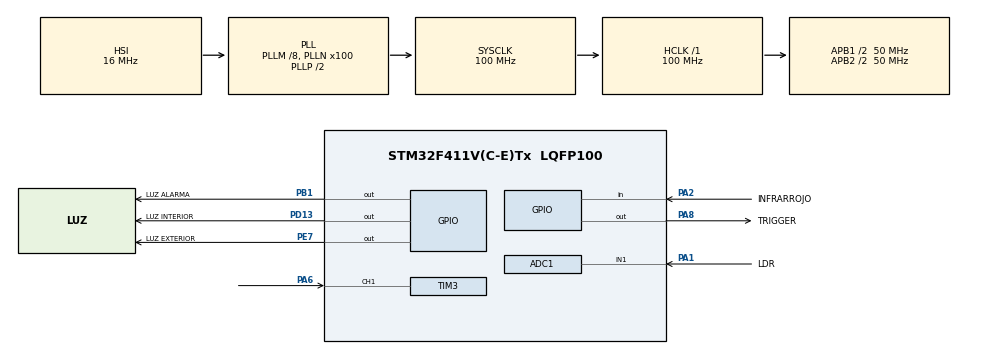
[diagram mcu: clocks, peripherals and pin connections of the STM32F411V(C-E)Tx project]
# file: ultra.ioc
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ADC1.Channel-0\#ChannelRegularConversion=ADC_CHANNEL_1
ADC1.Channel-1\#ChannelRegularConversion=ADC_CHANNEL_TEMPSENSOR
ADC1.ContinuousConvMode=ENABLE
ADC1.DMAContinuousRequests=ENABLE
ADC1.NbrOfConversion=2
ADC1.NbrOfConversionFlag=1
ADC1.Rank-0\#ChannelRegularConversion=1
ADC1.Rank-1\#ChannelRegularConversion=2
ADC1.SamplingTime-0\#ChannelRegularConversion=ADC_SAMPLETIME_3CYCLES
ADC1.SamplingTime-1\#ChannelRegularConversion=ADC_SAMPLETIME_144CYCLES
ADC1.ScanConvMode=ENABLE
ADC1.master=1
Dma.ADC1.0.Direction=DMA_PERIPH_TO_MEMORY
Dma.ADC1.0.FIFOMode=DMA_FIFOMODE_DISABLE
Dma.ADC1.0.Instance=DMA2_Stream0
Dma.ADC1.0.MemDataAlignment=DMA_MDATAALIGN_WORD
Dma.ADC1.0.MemInc=DMA_MINC_ENABLE
Dma.ADC1.0.Mode=DMA_CIRCULAR
Dma.ADC1.0.PeriphDataAlignment=DMA_PDATAALIGN_WORD
Dma.ADC1.0.PeriphInc=DMA_PINC_DISABLE
Dma.ADC1.0.Priority=DMA_PRIORITY_LOW
Dma.Request0=ADC1
Mcu.Family=STM32F4
Mcu.Name=STM32F411V(C-E)Tx
Mcu.Package=LQFP100
NVIC.ADC_IRQn=true\:0\:0\:false\:false\:true\:true\:true\:true
NVIC.DMA2_Stream0_IRQn=true\:0\:0\:false\:false\:true\:false\:true\:true
NVIC.PriorityGroup=NVIC_PRIORITYGROUP_0
NVIC.TIM3_IRQn=true\:0\:0\:false\:false\:true\:true\:true\:true
PA1.GPIO_Label=LDR
PA1.Signal=ADCx_IN1
PA2.GPIO_Label=INFRARROJO
PA2.Signal=GPIO_Input
PA6.Signal=S_TIM3_CH1
PA8.GPIO_Label=TRIGGER
PA8.Signal=GPIO_Output
PB1.GPIO_Label=LUZ ALARMA
PB1.Signal=GPIO_Output
PD13.GPIO_Label=LUZ INTERIOR
PD13.Signal=GPIO_Output
PE7.GPIO_Label=LUZ EXTERIOR
PE7.Signal=GPIO_Output
ProjectManager.HeapSize=0x200
ProjectManager.StackSize=0x400
ProjectManager.TargetToolchain=STM32CubeIDE
RCC.48MHZClocksFreq_Value=25000000
RCC.AHBFreq_Value=100000000
RCC.APB1CLKDivider=RCC_HCLK_DIV2
RCC.APB1Freq_Value=50000000
RCC.APB1TimFreq_Value=100000000
RCC.APB2CLKDivider=RCC_HCLK_DIV2
RCC.APB2Freq_Value=50000000
RCC.APB2TimFreq_Value=100000000
RCC.CortexFreq_Value=100000000
RCC.HCLKFreq_Value=100000000
RCC.HSE_VALUE=8000000
RCC.HSI_VALUE=16000000
RCC.LSE_VALUE=32768
RCC.PLLI2SM=5
RCC.PLLI2SN=200
RCC.PLLM=8
RCC.PLLN=100
RCC.PLLQ=8
RCC.SYSCLKFreq_VALUE=100000000
RCC.SYSCLKSource=RCC_SYSCLKSOURCE_PLLCLK
RCC.VCOOutputFreq_Value=200000000
SH.ADCx_IN1.0=ADC1_IN1,IN1
SH.S_TIM3_CH1.0=TIM3_CH1,Input_Capture1_from_TI1
TIM3.Channel-Input_Capture1_from_TI1=TIM_CHANNEL_1
TIM3.ICFilter_CH1=4
TIM3.Prescaler=100-1
VP_ADC1_TempSens_Input.Mode=IN-TempSens
VP_TIM3_VS_ClockSourceINT.Mode=Internal
board=STM32F411E-DISCO

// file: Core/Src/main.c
/* USER CODE BEGIN Header */
/**
  ******************************************************************************
  * @file           : main.c
  * @brief          : Main program body
  ******************************************************************************
  * @attention
  *
  * Copyright (c) 2024 STMicroelectronics.
  * All rights reserved.
  *
  * This software is licensed under terms that can be found in the LICENSE file
  * in the root directory of this software component.
  * If no LICENSE file comes with this software, it is provided AS-IS.
  *
  ******************************************************************************
  */
/* USER CODE END Header */
#include "main.h"

ADC_HandleTypeDef hadc1;
DMA_HandleTypeDef hdma_adc1;

TIM_HandleTypeDef htim3;

void SystemClock_Config(void);
static void MX_GPIO_Init(void);
static void MX_DMA_Init(void);
static void MX_TIM3_Init(void);
static void MX_ADC1_Init(void);
/* USER CODE BEGIN PFP */
//void sensor_distancia(int);
/* USER CODE END PFP */

/* USER CODE BEGIN 0 */
uint32_t adc_value[2]; //alamcena los valores de los sensores analogicos ldr y temperatura
uint32_t ldr_value=0;//Variable que almacenara la lectura del ldr

volatile uint8_t dma_completo=0;
uint8_t es_pv=0;                 // variable para configuracón de temporizador de ultrasonido
int distancia;                 // da valor a la distancia medida por el sensor de ultrasonido
uint32_t valor1,valor2,periodo, var_aux=0;  // variable para configuracón de temporizador de ultrasonido

uint32_t elapsed_time=0;
uint32_t start_time=0;

void activa_alarma(){
	if (HAL_GPIO_ReadPin(GPIOA, GPIO_PIN_2) == GPIO_PIN_SET){
      start_time = HAL_GetTick();

      while((HAL_GetTick() - start_time) < 10000){}

      while (((HAL_GetTick() - start_time) >= 10000)&&((HAL_GetTick() - start_time) < 20000))
      HAL_GPIO_WritePin(GPIOB, GPIO_PIN_1, 1);
      }
	HAL_GPIO_WritePin(GPIOB, GPIO_PIN_1, 0);

}
//conversion de temperatura

int encender_led(uint32_t value){
	if(value<300)return 1;
	else return 0;
}
void sensor_distancia(int distancia){
	if(distancia<15){
		HAL_GPIO_WritePin(GPIOD,GPIO_PIN_13,1); // Activacion del Led cuando la distancia del sujeto es la indicada
	}else{
		HAL_GPIO_WritePin(GPIOD,GPIO_PIN_13,0);
	}
}
void HAL_ADC_ConvCpltCallback(ADC_HandleTypeDef *hadc)

{
	dma_completo = 1;//Finaliza la lectura DMA
}

/* USER CODE END 0 */

int main(void)
{

  /* MCU Configuration--------------------------------------------------------*/

  /* Reset of all peripherals, Initializes the Flash interface and the Systick. */
  HAL_Init();

  /* Configure the system clock */
  SystemClock_Config();

  /* Initialize all configured peripherals */
  MX_GPIO_Init();
  MX_DMA_Init();
  MX_TIM3_Init();
  MX_ADC1_Init();
  /* USER CODE BEGIN 2 */

  HAL_ADC_Start_DMA(&hadc1,adc_value,2); // lectura de los dos canales de DMA

  /* USER CODE END 2 */

  /* Infinite loop */
  while (1)
  {

    /* USER CODE BEGIN 3 */

	   //ENVIO DE SEÑAL AL TRIGGER
	  	  	  activa_alarma();

	          ldr_value=adc_value[0];//le asignamos el valor

	 	      HAL_GPIO_WritePin(GPIOE,GPIO_PIN_7,encender_led(ldr_value));

	 	  	  HAL_GPIO_WritePin(TRIGGER_GPIO_Port,TRIGGER_Pin,GPIO_PIN_SET);
	 	  	  HAL_Delay(10);
	 	  	  HAL_GPIO_WritePin(TRIGGER_GPIO_Port,TRIGGER_Pin,GPIO_PIN_RESET);

	 	  	  HAL_TIM_IC_Start_IT(&htim3,TIM_CHANNEL_1);

	 	  	  distancia=periodo/58;

	 	  	  sensor_distancia(distancia);
  }
  /* USER CODE END 3 */
}

void SystemClock_Config(void)
{
  RCC_OscInitTypeDef RCC_OscInitStruct = {0};
  RCC_ClkInitTypeDef RCC_ClkInitStruct = {0};

  /** Configure the main internal regulator output voltage
  */
  __HAL_RCC_PWR_CLK_ENABLE();
  __HAL_PWR_VOLTAGESCALING_CONFIG(PWR_REGULATOR_VOLTAGE_SCALE1);

  /** Initializes the RCC Oscillators according to the specified parameters
  * in the RCC_OscInitTypeDef structure.
  */
  RCC_OscInitStruct.OscillatorType = RCC_OSCILLATORTYPE_HSI;
  RCC_OscInitStruct.HSIState = RCC_HSI_ON;
  RCC_OscInitStruct.HSICalibrationValue = RCC_HSICALIBRATION_DEFAULT;
  RCC_OscInitStruct.PLL.PLLState = RCC_PLL_ON;
  RCC_OscInitStruct.PLL.PLLSource = RCC_PLLSOURCE_HSI;
  RCC_OscInitStruct.PLL.PLLM = 8;
  RCC_OscInitStruct.PLL.PLLN = 100;
  RCC_OscInitStruct.PLL.PLLP = RCC_PLLP_DIV2;
  RCC_OscInitStruct.PLL.PLLQ = 8;
  if (HAL_RCC_OscConfig(&RCC_OscInitStruct) != HAL_OK)
  {
    Error_Handler();
  }

  /** Initializes the CPU, AHB and APB buses clocks
  */
  RCC_ClkInitStruct.ClockType = RCC_CLOCKTYPE_HCLK|RCC_CLOCKTYPE_SYSCLK
                              |RCC_CLOCKTYPE_PCLK1|RCC_CLOCKTYPE_PCLK2;
  RCC_ClkInitStruct.SYSCLKSource = RCC_SYSCLKSOURCE_PLLCLK;
  RCC_ClkInitStruct.AHBCLKDivider = RCC_SYSCLK_DIV1;
  RCC_ClkInitStruct.APB1CLKDivider = RCC_HCLK_DIV2;
  RCC_ClkInitStruct.APB2CLKDivider = RCC_HCLK_DIV2;

  if (HAL_RCC_ClockConfig(&RCC_ClkInitStruct, FLASH_LATENCY_3) != HAL_OK)
  {
    Error_Handler();
  }
}

static void MX_ADC1_Init(void)
{

  ADC_ChannelConfTypeDef sConfig = {0};

  /** Configure the global features of the ADC (Clock, Resolution, Data Alignment and number of conversion)
  */
  hadc1.Instance = ADC1;
  hadc1.Init.ClockPrescaler = ADC_CLOCK_SYNC_PCLK_DIV2;
  hadc1.Init.Resolution = ADC_RESOLUTION_12B;
  hadc1.Init.ScanConvMode = ENABLE;
  hadc1.Init.ContinuousConvMode = ENABLE;
  hadc1.Init.DiscontinuousConvMode = DISABLE;
  hadc1.Init.ExternalTrigConvEdge = ADC_EXTERNALTRIGCONVEDGE_NONE;
  hadc1.Init.ExternalTrigConv = ADC_SOFTWARE_START;
  hadc1.Init.DataAlign = ADC_DATAALIGN_RIGHT;
  hadc1.Init.NbrOfConversion = 2;
  hadc1.Init.DMAContinuousRequests = ENABLE;
  hadc1.Init.EOCSelection = ADC_EOC_SINGLE_CONV;
  if (HAL_ADC_Init(&hadc1) != HAL_OK)
  {
    Error_Handler();
  }

  /** Configure for the selected ADC regular channel its corresponding rank in the sequencer and its sample time.
  */
  sConfig.Channel = ADC_CHANNEL_1;
  sConfig.Rank = 1;
  sConfig.SamplingTime = ADC_SAMPLETIME_3CYCLES;
  if (HAL_ADC_ConfigChannel(&hadc1, &sConfig) != HAL_OK)
  {
    Error_Handler();
  }

  /** Configure for the selected ADC regular channel its corresponding rank in the sequencer and its sample time.
  */
  sConfig.Channel = ADC_CHANNEL_TEMPSENSOR;
  sConfig.Rank = 2;
  sConfig.SamplingTime = ADC_SAMPLETIME_144CYCLES;
  if (HAL_ADC_ConfigChannel(&hadc1, &sConfig) != HAL_OK)
  {
    Error_Handler();
  }

}

static void MX_TIM3_Init(void)
{

  TIM_ClockConfigTypeDef sClockSourceConfig = {0};
  TIM_MasterConfigTypeDef sMasterConfig = {0};
  TIM_IC_InitTypeDef sConfigIC = {0};

  htim3.Instance = TIM3;
  htim3.Init.Prescaler = 100-1;
  htim3.Init.CounterMode = TIM_COUNTERMODE_UP;
  htim3.Init.Period = 65535;
  htim3.Init.ClockDivision = TIM_CLOCKDIVISION_DIV1;
  htim3.Init.AutoReloadPreload = TIM_AUTORELOAD_PRELOAD_DISABLE;
  if (HAL_TIM_Base_Init(&htim3) != HAL_OK)
  {
    Error_Handler();
  }
  sClockSourceConfig.ClockSource = TIM_CLOCKSOURCE_INTERNAL;
  if (HAL_TIM_ConfigClockSource(&htim3, &sClockSourceConfig) != HAL_OK)
  {
    Error_Handler();
  }
  if (HAL_TIM_IC_Init(&htim3) != HAL_OK)
  {
    Error_Handler();
  }
  sMasterConfig.MasterOutputTrigger = TIM_TRGO_RESET;
  sMasterConfig.MasterSlaveMode = TIM_MASTERSLAVEMODE_DISABLE;
  if (HAL_TIMEx_MasterConfigSynchronization(&htim3, &sMasterConfig) != HAL_OK)
  {
    Error_Handler();
  }
  sConfigIC.ICPolarity = TIM_INPUTCHANNELPOLARITY_RISING;
  sConfigIC.ICSelection = TIM_ICSELECTION_DIRECTTI;
  sConfigIC.ICPrescaler = TIM_ICPSC_DIV1;
  sConfigIC.ICFilter = 4;
  if (HAL_TIM_IC_ConfigChannel(&htim3, &sConfigIC, TIM_CHANNEL_1) != HAL_OK)
  {
    Error_Handler();
  }

}

static void MX_DMA_Init(void)
{

  /* DMA controller clock enable */
  __HAL_RCC_DMA2_CLK_ENABLE();

  /* DMA interrupt init */
  /* DMA2_Stream0_IRQn interrupt configuration */
  HAL_NVIC_SetPriority(DMA2_Stream0_IRQn, 0, 0);
  HAL_NVIC_EnableIRQ(DMA2_Stream0_IRQn);

}

static void MX_GPIO_Init(void)
{
  GPIO_InitTypeDef GPIO_InitStruct = {0};

  /* GPIO Ports Clock Enable */
  __HAL_RCC_GPIOA_CLK_ENABLE();
  __HAL_RCC_GPIOB_CLK_ENABLE();
  __HAL_RCC_GPIOE_CLK_ENABLE();
  __HAL_RCC_GPIOD_CLK_ENABLE();

  /*Configure GPIO pin Output Level */
  HAL_GPIO_WritePin(LUZ_ALARMA_GPIO_Port, LUZ_ALARMA_Pin, GPIO_PIN_RESET);

  /*Configure GPIO pin Output Level */
  HAL_GPIO_WritePin(LUZ_EXTERIOR_GPIO_Port, LUZ_EXTERIOR_Pin, GPIO_PIN_RESET);

  /*Configure GPIO pin Output Level */
  HAL_GPIO_WritePin(LUZ_INTERIOR_GPIO_Port, LUZ_INTERIOR_Pin, GPIO_PIN_RESET);

  /*Configure GPIO pin Output Level */
  HAL_GPIO_WritePin(TRIGGER_GPIO_Port, TRIGGER_Pin, GPIO_PIN_RESET);

  /*Configure GPIO pin : INFRARROJO_Pin */
  GPIO_InitStruct.Pin = INFRARROJO_Pin;
  GPIO_InitStruct.Mode = GPIO_MODE_INPUT;
  GPIO_InitStruct.Pull = GPIO_NOPULL;
  HAL_GPIO_Init(INFRARROJO_GPIO_Port, &GPIO_InitStruct);

  /*Configure GPIO pin : LUZ_ALARMA_Pin */
  GPIO_InitStruct.Pin = LUZ_ALARMA_Pin;
  GPIO_InitStruct.Mode = GPIO_MODE_OUTPUT_PP;
  GPIO_InitStruct.Pull = GPIO_NOPULL;
  GPIO_InitStruct.Speed = GPIO_SPEED_FREQ_LOW;
  HAL_GPIO_Init(LUZ_ALARMA_GPIO_Port, &GPIO_InitStruct);

  /*Configure GPIO pin : LUZ_EXTERIOR_Pin */
  GPIO_InitStruct.Pin = LUZ_EXTERIOR_Pin;
  GPIO_InitStruct.Mode = GPIO_MODE_OUTPUT_PP;
  GPIO_InitStruct.Pull = GPIO_NOPULL;
  GPIO_InitStruct.Speed = GPIO_SPEED_FREQ_LOW;
  HAL_GPIO_Init(LUZ_EXTERIOR_GPIO_Port, &GPIO_InitStruct);

  /*Configure GPIO pin : LUZ_INTERIOR_Pin */
  GPIO_InitStruct.Pin = LUZ_INTERIOR_Pin;
  GPIO_InitStruct.Mode = GPIO_MODE_OUTPUT_PP;
  GPIO_InitStruct.Pull = GPIO_NOPULL;
  GPIO_InitStruct.Speed = GPIO_SPEED_FREQ_LOW;
  HAL_GPIO_Init(LUZ_INTERIOR_GPIO_Port, &GPIO_InitStruct);

  /*Configure GPIO pin : TRIGGER_Pin */
  GPIO_InitStruct.Pin = TRIGGER_Pin;
  GPIO_InitStruct.Mode = GPIO_MODE_OUTPUT_PP;
  GPIO_InitStruct.Pull = GPIO_NOPULL;
  GPIO_InitStruct.Speed = GPIO_SPEED_FREQ_LOW;
  HAL_GPIO_Init(TRIGGER_GPIO_Port, &GPIO_InitStruct);

}

/* USER CODE BEGIN 4 */
void HAL_TIM_IC_CaptureCallback(TIM_HandleTypeDef *htim){
	if(htim->Channel==HAL_TIM_ACTIVE_CHANNEL_1){
		if(es_pv==0)
		{
			valor1=HAL_TIM_ReadCapturedValue(htim,TIM_CHANNEL_1);
			es_pv=1;
			__HAL_TIM_SET_CAPTUREPOLARITY(htim, TIM_CHANNEL_1,TIM_INPUTCHANNELPOLARITY_FALLING);

		}
		else if(es_pv==1){
				valor2=HAL_TIM_ReadCapturedValue(htim,TIM_CHANNEL_1);
				__HAL_TIM_SET_COUNTER(htim,0);
				if(valor2>valor1){
					periodo=valor2-valor1;
				}
				es_pv=0;
				__HAL_TIM_SET_CAPTUREPOLARITY(htim, TIM_CHANNEL_1,TIM_INPUTCHANNELPOLARITY_RISING);
		}
	}

}
/* USER CODE END 4 */

void Error_Handler(void)
{
  __disable_irq();
  while (1)
  {
  }
}
